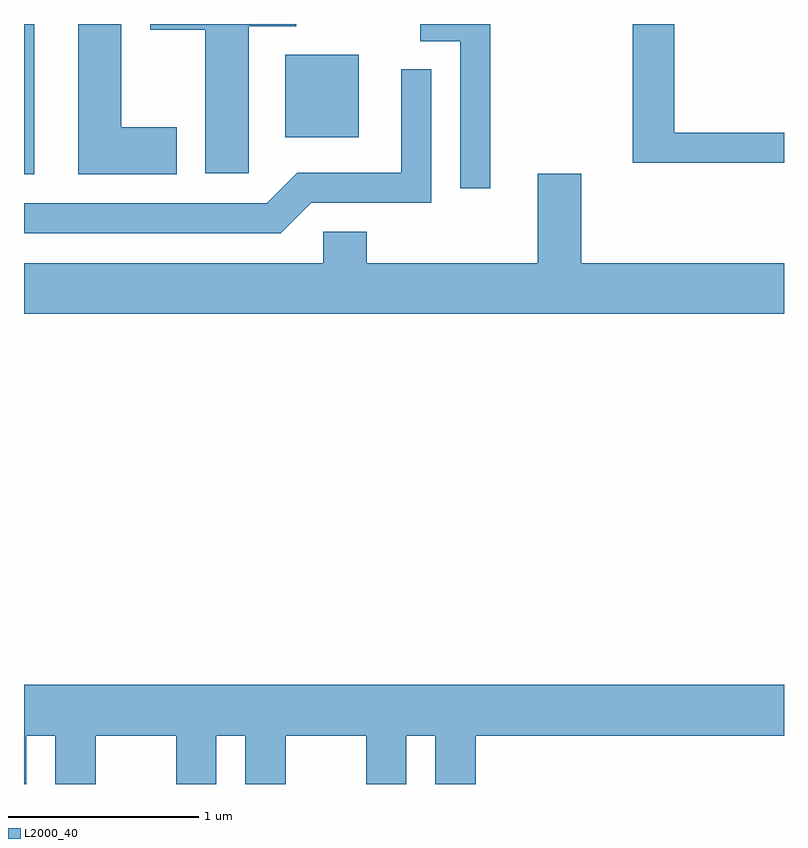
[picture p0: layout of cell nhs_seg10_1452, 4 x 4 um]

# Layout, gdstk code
import gdstk
lib = gdstk.Library(unit=1e-6, precision=1e-09)
def R(c, l, rs):  # rectangles x0, y0, x1, y1
    for r in rs: c.add(gdstk.rectangle(r[:2], r[2:], *l))
def P(c, l, *ps):  # polygons
    for p in ps: c.add(gdstk.Polygon(p, *l))
L2000_40 = (2000, 40)

nhs_seg10_1452 = lib.new_cell('nhs_seg10_1452')
R(nhs_seg10_1452, L2000_40, [(227.611,2145.731,227.664,2146.522), (228.986,2145.926,229.374,2146.359)])
P(nhs_seg10_1452, L2000_40, [(228.794,2146.511),(229.044,2146.511),(229.044,2146.522),(228.276,2146.522),(228.276,2146.491),(228.566,2146.491),(228.566,2145.736),(228.794,2145.736)],
  [(228.414,2145.979),(228.124,2145.979),(228.124,2146.522),(227.896,2146.522),(227.896,2145.731),(228.414,2145.731)],
  [(230.064,2146.522),(229.696,2146.522),(229.696,2146.431),(229.906,2146.431),(229.906,2145.658),(230.064,2145.658)],
  [(231.611,2145.949),(231.034,2145.949),(231.034,2146.522),(230.816,2146.522),(230.816,2145.791),(231.611,2145.791)],
  [(229.122,2145.581),(229.754,2145.581),(229.754,2146.283),(229.596,2146.283),(229.596,2145.739),(229.049,2145.739),(228.889,2145.579),(227.611,2145.579),(227.611,2145.421),(228.962,2145.421)],
  [(231.611,2145.264),(230.544,2145.264),(230.544,2145.734),(230.316,2145.734),(230.316,2145.264),(229.414,2145.264),(229.414,2145.429),(229.186,2145.429),(229.186,2145.264),(227.611,2145.264),(227.611,2144.996),(231.611,2144.996)],
  [(227.624,2142.776),(227.776,2142.776),(227.776,2142.522),(227.989,2142.522),(227.989,2142.776),(228.411,2142.776),(228.411,2142.522),(228.624,2142.522),(228.624,2142.776),(228.776,2142.776),(228.776,2142.522),(228.989,2142.522),(228.989,2142.776),(229.411,2142.776),(229.411,2142.522),(229.624,2142.522),(229.624,2142.776),(229.776,2142.776),(229.776,2142.522),(229.989,2142.522),(229.989,2142.776),(231.611,2142.776),(231.611,2143.044),(227.611,2143.044),(227.611,2142.522),(227.624,2142.522)])

lib.write_gds('nhs_seg10_1452.gds')
